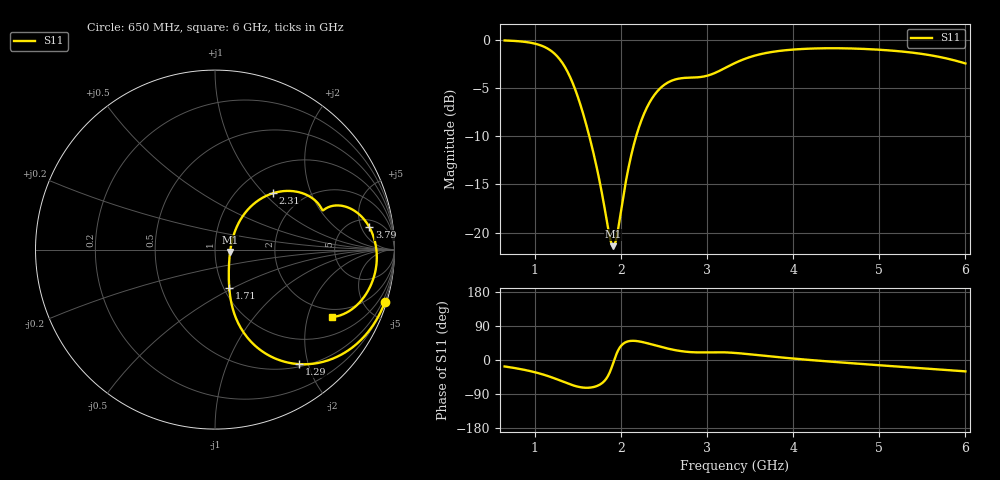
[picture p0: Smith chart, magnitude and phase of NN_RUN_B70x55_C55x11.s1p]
! IGNION VIRTUAL ANTENNA LIBRARY
! NN_RUN_B70x55_C55x11
! Virtual Antenna™ RUN mXTEND™: NN02-224 12.0 mm x 3.0 mm x 2.4 mm
! https://ignion.io/product/run-mxtend/
! Board: 70 mm x 55 mm
! Clearance Area: 55 mm x 11 mm
! Feeding line: L-shape; 11mm x 2mm and 5mm x 2mm
! Applications: Fleet management, IoT
! Frequency range 0.65GHz to 6GHz, step 10MHz
! Number of ports 1
! This product and its use is protected by at least one or more of the following patents and patent
! applications US 8,203,492 B2; US 8,237,615 B2; PCT/EP2013/064692; WO 2014/012842 A1; US 2019/190122 A1;
! US 62/072,671; and other domestic and international patents pending. Additional information about
! patents related to this product is available at https://ignion.io/files/Patent-list-NN.pdf, all
! rights reserved. Copyright, Ignion 2021.
! Need more help? Your platform is much different than these examples in the manual? Use our
! Fast Track service (https://ignion.io/fast-track/), for free, and get a personalized antenna design in
! just 24 hours.
! Touchstone port 1 = "Series Port"
! IE3D S-Parameters Output Version 2.0
# GHZ S MA R 50
! Nport = 1
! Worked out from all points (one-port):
!   536 points, 650 MHz to 6 GHz, reference 50 ohm
!   lowest |S11| = -21.4 dB at 1.91 GHz (marker M1), VSWR 1.19, Z = 59.2 - j1.52 ohm
!   |S11| at or under -10 dB: 1.633 GHz to 2.178 GHz (544.5 MHz wide, 28.6 % of centre)
!   S11 on the Smith chart (normalised r, x): 650 MHz: 0.20, -6.67; 1.29 GHz: 0.54, -1.85; 1.71 GHz: 1.06, -0.48; 2.31 GHz: 1.43, +1.13; 3.79 GHz: 6.91, +7.08; 6 GHz: 1.65, -2.87
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0.65  0.9911 -17.0
0.85  0.9784 -24.7
1.01  0.9521 -32.8
1.15  0.8993 -42.1
1.29  0.7915 -53.7
1.32  0.7588 -56.4
1.41  0.641 -64.2
1.51  0.4903 -70.9
1.6  0.3598 -73.3
1.71  0.2275 -69.6
1.87  0.09538 -32.9
1.91  0.08503 -8.6
1.94  0.0902 10.8
1.99  0.1203 33.9
2.07  0.1969 48.3
2.14  0.2741 50.7
2.22  0.3624 48.8
2.31  0.4522 44.1
2.47  0.5672 34.3
2.66  0.6268 24.8
2.85  0.6369 20.3
3.06  0.6634 20.4
3.33  0.7589 18.6
3.79  0.8688 8.3
4  0.889 3.9
4.67  0.9007 -8.4
5.34  0.8614 -19.5
6  0.7533 -30.0
